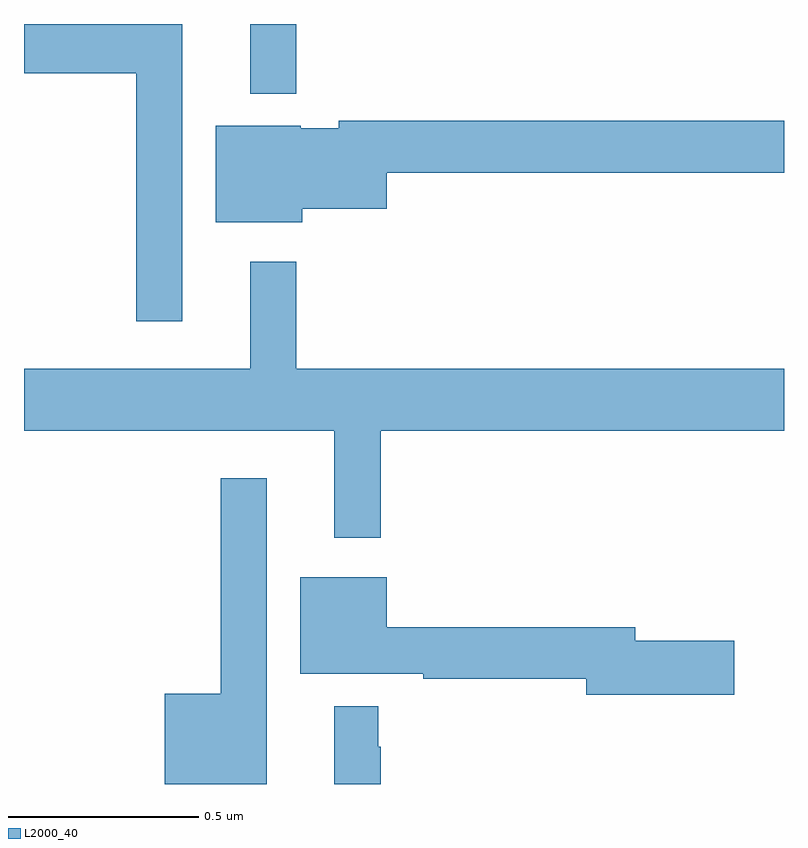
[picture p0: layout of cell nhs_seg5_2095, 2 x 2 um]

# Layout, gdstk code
import gdstk
lib = gdstk.Library(unit=1e-6, precision=1e-09)
def R(c, l, rs):  # rectangles x0, y0, x1, y1
    for r in rs: c.add(gdstk.rectangle(r[:2], r[2:], *l))
def P(c, l, *ps):  # polygons
    for p in ps: c.add(gdstk.Polygon(p, *l))
L2000_40 = (2000, 40)

nhs_seg5_2095 = lib.new_cell('nhs_seg5_2095')
R(nhs_seg5_2095, L2000_40, [(139.595,889.616,139.717,889.799)])
P(nhs_seg5_2095, L2000_40, [(139.417,889.799),(139,889.799),(139,889.67),(139.296,889.67),(139.296,889.017),(139.417,889.017)],
  [(139.732,889.313),(139.954,889.313),(139.954,889.408),(141,889.408),(141,889.544),(139.828,889.544),(139.828,889.525),(139.728,889.525),(139.728,889.531),(139.505,889.531),(139.505,889.277),(139.732,889.277)],
  [(139.939,888.728),(141,888.728),(141,888.892),(139.717,888.892),(139.717,889.174),(139.595,889.174),(139.595,888.892),(139,888.892),(139,888.728),(139.817,888.728),(139.817,888.447),(139.939,888.447)],
  [(139.639,888.604),(139.518,888.604),(139.518,888.037),(139.37,888.037),(139.37,887.799),(139.639,887.799)],
  [(140.869,888.176),(140.608,888.176),(140.608,888.212),(139.954,888.212),(139.954,888.343),(139.727,888.343),(139.727,888.089),(140.05,888.089),(140.05,888.076),(140.48,888.076),(140.48,888.034),(140.869,888.034)],
  [(139.939,887.897),(139.932,887.897),(139.932,888.004),(139.817,888.004),(139.817,887.799),(139.939,887.799)])

lib.write_gds('nhs_seg5_2095.gds')
